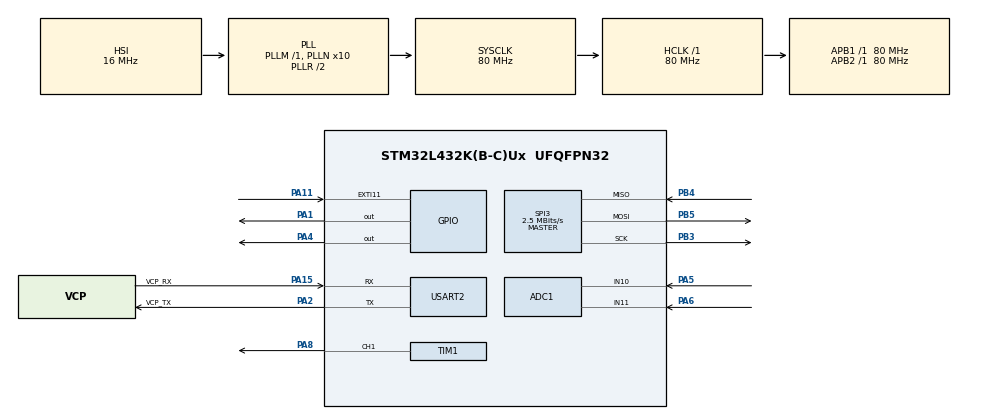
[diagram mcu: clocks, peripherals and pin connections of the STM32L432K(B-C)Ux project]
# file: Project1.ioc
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ADC1.Channel-0\#ChannelRegularConversion=ADC_CHANNEL_11
ADC1.Channel-1\#ChannelRegularConversion=ADC_CHANNEL_10
ADC1.ContinuousConvMode=DISABLE
ADC1.DMAContinuousRequests=DISABLE
ADC1.ExternalTrigConv=ADC_EXTERNALTRIG_T1_TRGO
ADC1.ExternalTrigConvEdge=ADC_EXTERNALTRIGCONVEDGE_RISINGFALLING
ADC1.NbrOfConversion=2
ADC1.NbrOfConversionFlag=1
ADC1.OffsetNumber-0\#ChannelRegularConversion=ADC_OFFSET_NONE
ADC1.OffsetNumber-1\#ChannelRegularConversion=ADC_OFFSET_NONE
ADC1.OversamplingMode=ENABLE
ADC1.Rank-0\#ChannelRegularConversion=1
ADC1.Rank-1\#ChannelRegularConversion=2
ADC1.Ratio=ADC_OVERSAMPLING_RATIO_256
ADC1.RightBitShift=ADC_RIGHTBITSHIFT_4
ADC1.SamplingTime-0\#ChannelRegularConversion=ADC_SAMPLETIME_2CYCLES_5
ADC1.SamplingTime-1\#ChannelRegularConversion=ADC_SAMPLETIME_2CYCLES_5
ADC1.master=1
Dma.ADC1.0.Direction=DMA_PERIPH_TO_MEMORY
Dma.ADC1.0.Instance=DMA1_Channel1
Dma.ADC1.0.MemDataAlignment=DMA_MDATAALIGN_HALFWORD
Dma.ADC1.0.MemInc=DMA_MINC_ENABLE
Dma.ADC1.0.Mode=DMA_CIRCULAR
Dma.ADC1.0.PeriphDataAlignment=DMA_PDATAALIGN_HALFWORD
Dma.ADC1.0.PeriphInc=DMA_PINC_DISABLE
Dma.ADC1.0.Priority=DMA_PRIORITY_LOW
Dma.Request0=ADC1
Dma.Request1=USART2_RX
Dma.USART2_RX.1.Direction=DMA_PERIPH_TO_MEMORY
Dma.USART2_RX.1.Instance=DMA1_Channel6
Dma.USART2_RX.1.MemDataAlignment=DMA_MDATAALIGN_BYTE
Dma.USART2_RX.1.MemInc=DMA_MINC_ENABLE
Dma.USART2_RX.1.Mode=DMA_CIRCULAR
Dma.USART2_RX.1.PeriphDataAlignment=DMA_PDATAALIGN_BYTE
Dma.USART2_RX.1.PeriphInc=DMA_PINC_DISABLE
Dma.USART2_RX.1.Priority=DMA_PRIORITY_LOW
Mcu.Family=STM32L4
Mcu.Name=STM32L432K(B-C)Ux
Mcu.Package=UFQFPN32
NVIC.DMA1_Channel1_IRQn=true\:0\:0\:false\:false\:true\:false\:true\:true
NVIC.DMA1_Channel6_IRQn=true\:0\:0\:true\:false\:true\:false\:true\:true
NVIC.EXTI15_10_IRQn=true\:2\:0\:true\:false\:true\:true\:true\:true
NVIC.PriorityGroup=NVIC_PRIORITYGROUP_4
PA0.GPIO_Label=MCO [High speed clock in]
PA0.Mode=HSE-External-Clock-Source-for-LittleOrca
PA0.Signal=RCC_CK_IN
PA1.Signal=GPIO_Output
PA11.GPIO_ModeDefaultEXTI=GPIO_MODE_IT_FALLING
PA11.Signal=GPXTI11
PA13\ (JTMS-SWDIO).GPIO_Label=SWDIO
PA13\ (JTMS-SWDIO).Mode=Serial_Wire
PA13\ (JTMS-SWDIO).Signal=SYS_JTMS-SWDIO
PA14\ (JTCK-SWCLK).GPIO_Label=SWCLK
PA14\ (JTCK-SWCLK).Mode=Serial_Wire
PA14\ (JTCK-SWCLK).Signal=SYS_JTCK-SWCLK
PA15\ (JTDI).GPIO_Label=VCP_RX
PA15\ (JTDI).Mode=Asynchronous
PA15\ (JTDI).Signal=USART2_RX
PA2.GPIO_Label=VCP_TX
PA2.Mode=Asynchronous
PA2.Signal=USART2_TX
PA4.PinState=GPIO_PIN_SET
PA4.Signal=GPIO_Output
PA5.Signal=ADCx_IN10
PA6.Signal=ADCx_IN11
PA8.Signal=S_TIM1_CH1
PB3\ (JTDO-TRACESWO).GPIO_Speed=GPIO_SPEED_FREQ_VERY_HIGH
PB3\ (JTDO-TRACESWO).Mode=Full_Duplex_Master
PB3\ (JTDO-TRACESWO).Signal=SPI3_SCK
PB4\ (NJTRST).GPIO_Speed=GPIO_SPEED_FREQ_VERY_HIGH
PB4\ (NJTRST).Mode=Full_Duplex_Master
PB4\ (NJTRST).Signal=SPI3_MISO
PB5.GPIO_Speed=GPIO_SPEED_FREQ_VERY_HIGH
PB5.Mode=Full_Duplex_Master
PB5.Signal=SPI3_MOSI
PC14-OSC32_IN\ (PC14).Mode=LSE-External-Oscillator
PC14-OSC32_IN\ (PC14).Signal=RCC_OSC32_IN
PC15-OSC32_OUT\ (PC15).Mode=LSE-External-Oscillator
PC15-OSC32_OUT\ (PC15).Signal=RCC_OSC32_OUT
ProjectManager.HeapSize=0x200
ProjectManager.StackSize=0x400
ProjectManager.TargetToolchain=STM32CubeIDE
RCC.ADCFreq_Value=32000000
RCC.AHBFreq_Value=80000000
RCC.APB1Freq_Value=80000000
RCC.APB1TimFreq_Value=80000000
RCC.APB2Freq_Value=80000000
RCC.APB2TimFreq_Value=80000000
RCC.CortexFreq_Value=80000000
RCC.HCLKFreq_Value=80000000
RCC.HSE_VALUE=8000000
RCC.HSI16_VALUE=16000000
RCC.HSI48_VALUE=48000000
RCC.HSI_VALUE=16000000
RCC.MSI_VALUE=4000000
RCC.PLLMUL=RCC_PLLMUL_4
RCC.PLLN=10
RCC.PLLSAI1R=RCC_PLLR_DIV4
RCC.PLLSourceVirtual=RCC_PLLSOURCE_HSI
RCC.SYSCLKFreq_VALUE=80000000
RCC.SYSCLKSource=RCC_SYSCLKSOURCE_PLLCLK
RCC.USBFreq_Value=64000000
RCC.VCOOutputFreq_Value=160000000
RCC.VDD_VALUE=3.3
SH.ADCx_IN10.0=ADC1_IN10,IN10-Single-Ended
SH.ADCx_IN11.0=ADC1_IN11,IN11-Single-Ended
SH.S_TIM1_CH1.0=TIM1_CH1,Output Compare1 CH1
SPI3.BaudRatePrescaler=SPI_BAUDRATEPRESCALER_32
SPI3.CLKPhase=SPI_PHASE_2EDGE
SPI3.CLKPolarity=SPI_POLARITY_LOW
SPI3.CalculateBaudRate=2.5 MBits/s
SPI3.DataSize=SPI_DATASIZE_8BIT
SPI3.Direction=SPI_DIRECTION_2LINES
SPI3.Mode=SPI_MODE_MASTER
SPI3.VirtualType=VM_MASTER
TIM1.AutoReloadPreload=TIM_AUTORELOAD_PRELOAD_ENABLE
TIM1.Channel-Output\ Compare1\ CH1=TIM_CHANNEL_1
TIM1.OCMode_1=TIM_OCMODE_TOGGLE
TIM1.Period=1000-1
TIM1.Prescaler=80-1
TIM1.TIM_MasterOutputTrigger=TIM_TRGO_UPDATE
USART2.VirtualMode-Asynchronous=VM_ASYNC
VP_TIM1_VS_ClockSourceINT.Mode=Internal
board=NUCLEO-L432KC

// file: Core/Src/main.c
/* USER CODE BEGIN Header */
/**
  ******************************************************************************
  * @file           : main.c
  * @brief          : Main program body
  ******************************************************************************
  * @attention
  *
  * Copyright (c) 2024 STMicroelectronics.
  * All rights reserved.
  *
  * This software is licensed under terms that can be found in the LICENSE file
  * in the root directory of this software component.
  * If no LICENSE file comes with this software, it is provided AS-IS.
  *
  ******************************************************************************
  */
/* USER CODE END Header */
#include "main.h"

/* USER CODE BEGIN Includes */
#include <string.h>
#include <stdio.h>
#include <math.h>
#include <stdlib.h>

/* USER CODE END Includes */

/* USER CODE BEGIN PD */

//ADC definitions
#define ADC_BUF_LEN 10000
#define ADC_RESOLUTION 65535
#define Half_ADC_RESOLUTION 30060//28655
#define ADC_VREF 2.2

//DAC definitions
#define VREF 2.5 				// Reference voltage for DAC
#define M 2.4
#define C 1.2
#define VOUT 1.5
#define SINE_RESOLUTION 10	// Number of points in the sine wave
//#define V_OUT_RANGE 2   		// Desired voltage range for sine wave output
//#define RX_BUF_SIZE 100

/* USER CODE END PD */

ADC_HandleTypeDef hadc1;
DMA_HandleTypeDef hdma_adc1;

SPI_HandleTypeDef hspi3;

TIM_HandleTypeDef htim1;

UART_HandleTypeDef huart2;
DMA_HandleTypeDef hdma_usart2_rx;

/* USER CODE BEGIN PV */

//ADC PARAMETERS
uint16_t adc_buf[ADC_BUF_LEN];
float voltage;
float voltage_output;
float vDAC;
float vout;
uint32_t time_interval = 2000;

//DAC parameters
const uint8_t CRaddress = 0x04; 			//Control register address
const uint16_t CRconfig = 0x22D; 			//Control register configuration
const uint8_t Read = 0x0C;  				//Control register read
const uint8_t Reset = 0x0F;  				//Reset address
const uint8_t DAC_update_address = 0x03;	//DAC Write_Update address
const uint8_t DAC_Read = 0xB;				//DAC read address
uint8_t rxData[3];
uint16_t sine_wave[SINE_RESOLUTION];
int sine_index = 0;
//double V_OUT_RANGE = 2.0;
//double new_V_OUT_RANGE = 2.0;

//Serial Port
char uart_buf[30];
int uart_len;
char rx_buf[5];
float n_lim = -2.0;
float p_lim = 2.0;
float step_size = 0.5;
//uint16_t linear[1000];
char c;
int state = 0;

/* USER CODE END PV */

void SystemClock_Config(void);
static void MX_GPIO_Init(void);
static void MX_DMA_Init(void);
static void MX_USART2_UART_Init(void);
static void MX_SPI3_Init(void);
static void MX_TIM1_Init(void);
static void MX_ADC1_Init(void);

/* USER CODE BEGIN 0 */

//ADC FUNCTIONS
float ADC_to_Voltage(uint32_t adc_value)
{
	int16_t differential_value = (int16_t)adc_value -Half_ADC_RESOLUTION;//28790.5  ; //29015;
	return (((float)differential_value / Half_ADC_RESOLUTION ) * ADC_VREF +0.02);
//	float shifted_voltage = (adc_value * ADC_VREF) / (ADC_RESOLUTION);
//
//	    // Convert shifted voltage back to original voltage range (-3V to 3V)
//	float original_voltage = (shifted_voltage - 1.5) * 2.0;
//	 return original_voltage;
}

void generate_linear(float n_lim, float p_lim, float step_size) {
    float range = p_lim - n_lim;
    int steps = (int)(range / step_size);
	for (int i = 0; i < steps; i++) {
        // Convert to DAC value using the transfer function
        float v_out = n_lim + i*step_size;
        uint16_t dac_value = (uint16_t)((((v_out/VREF)+C)/M)*(65535));
        //linear[i] = dac_value;
        AD5761_Write((uint8_t)DAC_update_address, dac_value);
        HAL_Delay(time_interval-1);
    }
	if (n_lim + steps * step_size-0.1 <= p_lim) {
	        float v_out = p_lim;
	        uint16_t dac_value = (uint16_t)((((v_out/VREF) + C) / M) * 65535);
	        //linear[steps + 1] = dac_value;
	        AD5761_Write((uint8_t)DAC_update_address, dac_value);
	 }

}
//void generate_sine_wave(void) {
//    for (int i = 0; i < SINE_RESOLUTION; i++) {
//        double angle = 2 * M_PI * i / SINE_RESOLUTION;
//        double sine_value = sin(angle);
//
//        // Convert to DAC value using the transfer function
//        double v_out = sine_value * V_OUT_RANGE; // Scale sine wave to desired voltage range
//        uint16_t dac_value = (uint16_t)((((v_out/VREF)+C)/M)*(65535));
//        sine_wave[i] = dac_value;
//    }
//}
void AD5761_Read(uint8_t reg, uint16_t value) {

    uint8_t nop[3]= {(uint8_t)0x0,(uint8_t)0x0,(uint8_t)0x0};

	uint8_t txData[3];
    txData[0] = reg;
    txData[1] = (value & 0xFF00) >> 8;
    txData[2] = (value & 0x00FF) >> 0;

    HAL_GPIO_WritePin(GPIOA, GPIO_PIN_4, GPIO_PIN_RESET);				 // CS Low
    HAL_SPI_Transmit(&hspi3, txData, 3, HAL_MAX_DELAY);  				 // Transmit data
    HAL_GPIO_WritePin(GPIOA, GPIO_PIN_4, GPIO_PIN_SET);   					// CS High

    HAL_Delay(10);
    HAL_GPIO_WritePin(GPIOA, GPIO_PIN_4, GPIO_PIN_RESET); 				// CS Low
    HAL_SPI_TransmitReceive(&hspi3, nop, rxData, 3,HAL_MAX_DELAY);   	// Transmit_Receive data
    HAL_GPIO_WritePin(GPIOA, GPIO_PIN_4, GPIO_PIN_SET);					 // CS High

}

void AD5761_Write(uint8_t reg, uint16_t value) {
    uint8_t txData[3];
    txData[0] = reg;
    txData[1] = (value & 0xFF00) >> 8;
    txData[2] = (value & 0x00FF) >> 0;

    HAL_GPIO_WritePin(GPIOA, GPIO_PIN_4, GPIO_PIN_RESET); // CS Low
    HAL_SPI_Transmit(&hspi3, txData, 3, HAL_MAX_DELAY);   // Transmit data
    HAL_GPIO_WritePin(GPIOA, GPIO_PIN_4, GPIO_PIN_SET);   // CS High

}

void AD5761_Init(void) {

	AD5761_Write(0x0,0x0);
	AD5761_Write(Reset,(uint16_t)0x0);		// Software Data Reset
	HAL_Delay(10);
    AD5761_Write(CRaddress, CRconfig);		// Set to Bipolar mode, +/- 3V range
}
void HandleAlertCondition(void)
{

	AD5761_Read(Read, (uint16_t)0x000);

}
void HAL_GPIO_EXTI_Callback(uint16_t GPIO_Pin){

	 if (GPIO_Pin == GPIO_PIN_11)
	 	    {
	 	        // Handle the ALERT condition
	 	        HandleAlertCondition();
	 	    }
}

/* USER CODE END 0 */

int main(void)
{

  /* MCU Configuration--------------------------------------------------------*/

  /* Reset of all peripherals, Initializes the Flash interface and the Systick. */
  HAL_Init();

  /* Configure the system clock */
  SystemClock_Config();

  /* Initialize all configured peripherals */
  MX_GPIO_Init();
  MX_DMA_Init();
  MX_USART2_UART_Init();
  MX_SPI3_Init();
  MX_TIM1_Init();
  MX_ADC1_Init();
  /* USER CODE BEGIN 2 */
  AD5761_Init();    						//AD5761 Initiallize (Software Data Reset and Control register write)
  AD5761_Read(Read,(uint16_t)0x0);			//Read from control register (0x4)
  HAL_UART_Receive_DMA(&huart2, rx_buf,5);

//  uint16_t dac_value = (uint16_t)((((VOUT/VREF)+C)/M)*(ADC_RESOLUTION));
//  AD5761_Write((uint8_t)DAC_update_address, dac_value);  	//Write and update DAC register (0x3)
//  //  AD5761_Read((uint8_t)0x0B,(uint16_t)0x0);				//Read DAC register (0x3)

  HAL_ADCEx_Calibration_Start(&hadc1, ADC_SINGLE_ENDED);
  HAL_TIM_Base_Start(&htim1);				 // Timer for ADC updates
  HAL_TIM_OC_Start(&htim1, TIM_CHANNEL_1);
  HAL_ADC_Start_DMA(&hadc1, (uint32_t*)adc_buf, time_interval);

  /* USER CODE END 2 */

  /* Infinite loop */
  /* USER CODE BEGIN WHILE */

      while (1)
  {
    	  while(state == 1){
    	    float range = p_lim - n_lim;
    	    int steps = (int)(range / step_size);
    	    for (int i = 0; i < steps; i++) {
    	    	if(state == 0)
    	    		break;
    	    	float v_out = n_lim + i*step_size;
    	      	uint16_t dac_value = (uint16_t)((((v_out/VREF)+C)/M)*(ADC_RESOLUTION));
    	      	AD5761_Write((uint8_t)DAC_update_address, dac_value);
    	      	HAL_Delay(time_interval+1);
    	    }
    	    if (n_lim + steps * step_size-0.1 <= p_lim && state == 1) {
    	      	float v_out = p_lim;
    	      	uint16_t dac_value = (uint16_t)((((v_out/VREF) + C) / M) * ADC_RESOLUTION);
    	      	AD5761_Write((uint8_t)DAC_update_address, dac_value);
    	    }
    	    state = 0;
    	 }

    /* USER CODE END WHILE */

  }
}

void SystemClock_Config(void)
{
  RCC_OscInitTypeDef RCC_OscInitStruct = {0};
  RCC_ClkInitTypeDef RCC_ClkInitStruct = {0};

  /** Configure the main internal regulator output voltage
  */
  if (HAL_PWREx_ControlVoltageScaling(PWR_REGULATOR_VOLTAGE_SCALE1) != HAL_OK)
  {
    Error_Handler();
  }

  /** Initializes the RCC Oscillators according to the specified parameters
  * in the RCC_OscInitTypeDef structure.
  */
  RCC_OscInitStruct.OscillatorType = RCC_OSCILLATORTYPE_HSI;
  RCC_OscInitStruct.HSIState = RCC_HSI_ON;
  RCC_OscInitStruct.HSICalibrationValue = RCC_HSICALIBRATION_DEFAULT;
  RCC_OscInitStruct.PLL.PLLState = RCC_PLL_ON;
  RCC_OscInitStruct.PLL.PLLSource = RCC_PLLSOURCE_HSI;
  RCC_OscInitStruct.PLL.PLLM = 1;
  RCC_OscInitStruct.PLL.PLLN = 10;
  RCC_OscInitStruct.PLL.PLLP = RCC_PLLP_DIV7;
  RCC_OscInitStruct.PLL.PLLQ = RCC_PLLQ_DIV2;
  RCC_OscInitStruct.PLL.PLLR = RCC_PLLR_DIV2;
  if (HAL_RCC_OscConfig(&RCC_OscInitStruct) != HAL_OK)
  {
    Error_Handler();
  }

  /** Initializes the CPU, AHB and APB buses clocks
  */
  RCC_ClkInitStruct.ClockType = RCC_CLOCKTYPE_HCLK|RCC_CLOCKTYPE_SYSCLK
                              |RCC_CLOCKTYPE_PCLK1|RCC_CLOCKTYPE_PCLK2;
  RCC_ClkInitStruct.SYSCLKSource = RCC_SYSCLKSOURCE_PLLCLK;
  RCC_ClkInitStruct.AHBCLKDivider = RCC_SYSCLK_DIV1;
  RCC_ClkInitStruct.APB1CLKDivider = RCC_HCLK_DIV1;
  RCC_ClkInitStruct.APB2CLKDivider = RCC_HCLK_DIV1;

  if (HAL_RCC_ClockConfig(&RCC_ClkInitStruct, FLASH_LATENCY_4) != HAL_OK)
  {
    Error_Handler();
  }
}

static void MX_ADC1_Init(void)
{

  ADC_ChannelConfTypeDef sConfig = {0};

  /** Common config
  */
  hadc1.Instance = ADC1;
  hadc1.Init.ClockPrescaler = ADC_CLOCK_ASYNC_DIV1;
  hadc1.Init.Resolution = ADC_RESOLUTION_12B;
  hadc1.Init.DataAlign = ADC_DATAALIGN_RIGHT;
  hadc1.Init.ScanConvMode = ADC_SCAN_ENABLE;
  hadc1.Init.EOCSelection = ADC_EOC_SINGLE_CONV;
  hadc1.Init.LowPowerAutoWait = DISABLE;
  hadc1.Init.ContinuousConvMode = DISABLE;
  hadc1.Init.NbrOfConversion = 2;
  hadc1.Init.DiscontinuousConvMode = DISABLE;
  hadc1.Init.ExternalTrigConv = ADC_EXTERNALTRIG_T1_TRGO;
  hadc1.Init.ExternalTrigConvEdge = ADC_EXTERNALTRIGCONVEDGE_RISINGFALLING;
  hadc1.Init.DMAContinuousRequests = DISABLE;
  hadc1.Init.Overrun = ADC_OVR_DATA_PRESERVED;
  hadc1.Init.OversamplingMode = ENABLE;
  hadc1.Init.Oversampling.Ratio = ADC_OVERSAMPLING_RATIO_256;
  hadc1.Init.Oversampling.RightBitShift = ADC_RIGHTBITSHIFT_4;
  hadc1.Init.Oversampling.TriggeredMode = ADC_TRIGGEREDMODE_SINGLE_TRIGGER;
  hadc1.Init.Oversampling.OversamplingStopReset = ADC_REGOVERSAMPLING_CONTINUED_MODE;
  if (HAL_ADC_Init(&hadc1) != HAL_OK)
  {
    Error_Handler();
  }

  /** Configure Regular Channel
  */
  sConfig.Channel = ADC_CHANNEL_11;
  sConfig.Rank = ADC_REGULAR_RANK_1;
  sConfig.SamplingTime = ADC_SAMPLETIME_2CYCLES_5;
  sConfig.SingleDiff = ADC_SINGLE_ENDED;
  sConfig.OffsetNumber = ADC_OFFSET_NONE;
  sConfig.Offset = 0;
  if (HAL_ADC_ConfigChannel(&hadc1, &sConfig) != HAL_OK)
  {
    Error_Handler();
  }

  /** Configure Regular Channel
  */
  sConfig.Channel = ADC_CHANNEL_10;
  sConfig.Rank = ADC_REGULAR_RANK_2;
  if (HAL_ADC_ConfigChannel(&hadc1, &sConfig) != HAL_OK)
  {
    Error_Handler();
  }

}

static void MX_SPI3_Init(void)
{

  /* SPI3 parameter configuration*/
  hspi3.Instance = SPI3;
  hspi3.Init.Mode = SPI_MODE_MASTER;
  hspi3.Init.Direction = SPI_DIRECTION_2LINES;
  hspi3.Init.DataSize = SPI_DATASIZE_8BIT;
  hspi3.Init.CLKPolarity = SPI_POLARITY_LOW;
  hspi3.Init.CLKPhase = SPI_PHASE_2EDGE;
  hspi3.Init.NSS = SPI_NSS_SOFT;
  hspi3.Init.BaudRatePrescaler = SPI_BAUDRATEPRESCALER_32;
  hspi3.Init.FirstBit = SPI_FIRSTBIT_MSB;
  hspi3.Init.TIMode = SPI_TIMODE_DISABLE;
  hspi3.Init.CRCCalculation = SPI_CRCCALCULATION_DISABLE;
  hspi3.Init.CRCPolynomial = 7;
  hspi3.Init.CRCLength = SPI_CRC_LENGTH_DATASIZE;
  hspi3.Init.NSSPMode = SPI_NSS_PULSE_DISABLE;
  if (HAL_SPI_Init(&hspi3) != HAL_OK)
  {
    Error_Handler();
  }

}

static void MX_TIM1_Init(void)
{

  TIM_ClockConfigTypeDef sClockSourceConfig = {0};
  TIM_MasterConfigTypeDef sMasterConfig = {0};
  TIM_OC_InitTypeDef sConfigOC = {0};
  TIM_BreakDeadTimeConfigTypeDef sBreakDeadTimeConfig = {0};

  htim1.Instance = TIM1;
  htim1.Init.Prescaler = 80-1;
  htim1.Init.CounterMode = TIM_COUNTERMODE_UP;
  htim1.Init.Period = 1000-1;
  htim1.Init.ClockDivision = TIM_CLOCKDIVISION_DIV1;
  htim1.Init.RepetitionCounter = 0;
  htim1.Init.AutoReloadPreload = TIM_AUTORELOAD_PRELOAD_ENABLE;
  if (HAL_TIM_Base_Init(&htim1) != HAL_OK)
  {
    Error_Handler();
  }
  sClockSourceConfig.ClockSource = TIM_CLOCKSOURCE_INTERNAL;
  if (HAL_TIM_ConfigClockSource(&htim1, &sClockSourceConfig) != HAL_OK)
  {
    Error_Handler();
  }
  if (HAL_TIM_OC_Init(&htim1) != HAL_OK)
  {
    Error_Handler();
  }
  sMasterConfig.MasterOutputTrigger = TIM_TRGO_UPDATE;
  sMasterConfig.MasterOutputTrigger2 = TIM_TRGO2_RESET;
  sMasterConfig.MasterSlaveMode = TIM_MASTERSLAVEMODE_DISABLE;
  if (HAL_TIMEx_MasterConfigSynchronization(&htim1, &sMasterConfig) != HAL_OK)
  {
    Error_Handler();
  }
  sConfigOC.OCMode = TIM_OCMODE_TOGGLE;
  sConfigOC.Pulse = 0;
  sConfigOC.OCPolarity = TIM_OCPOLARITY_HIGH;
  sConfigOC.OCNPolarity = TIM_OCNPOLARITY_HIGH;
  sConfigOC.OCFastMode = TIM_OCFAST_DISABLE;
  sConfigOC.OCIdleState = TIM_OCIDLESTATE_RESET;
  sConfigOC.OCNIdleState = TIM_OCNIDLESTATE_RESET;
  if (HAL_TIM_OC_ConfigChannel(&htim1, &sConfigOC, TIM_CHANNEL_1) != HAL_OK)
  {
    Error_Handler();
  }
  sBreakDeadTimeConfig.OffStateRunMode = TIM_OSSR_DISABLE;
  sBreakDeadTimeConfig.OffStateIDLEMode = TIM_OSSI_DISABLE;
  sBreakDeadTimeConfig.LockLevel = TIM_LOCKLEVEL_OFF;
  sBreakDeadTimeConfig.DeadTime = 0;
  sBreakDeadTimeConfig.BreakState = TIM_BREAK_DISABLE;
  sBreakDeadTimeConfig.BreakPolarity = TIM_BREAKPOLARITY_HIGH;
  sBreakDeadTimeConfig.BreakFilter = 0;
  sBreakDeadTimeConfig.Break2State = TIM_BREAK2_DISABLE;
  sBreakDeadTimeConfig.Break2Polarity = TIM_BREAK2POLARITY_HIGH;
  sBreakDeadTimeConfig.Break2Filter = 0;
  sBreakDeadTimeConfig.AutomaticOutput = TIM_AUTOMATICOUTPUT_DISABLE;
  if (HAL_TIMEx_ConfigBreakDeadTime(&htim1, &sBreakDeadTimeConfig) != HAL_OK)
  {
    Error_Handler();
  }
  HAL_TIM_MspPostInit(&htim1);

}

static void MX_USART2_UART_Init(void)
{

  huart2.Instance = USART2;
  huart2.Init.BaudRate = 115200;
  huart2.Init.WordLength = UART_WORDLENGTH_8B;
  huart2.Init.StopBits = UART_STOPBITS_1;
  huart2.Init.Parity = UART_PARITY_NONE;
  huart2.Init.Mode = UART_MODE_TX_RX;
  huart2.Init.HwFlowCtl = UART_HWCONTROL_NONE;
  huart2.Init.OverSampling = UART_OVERSAMPLING_16;
  huart2.Init.OneBitSampling = UART_ONE_BIT_SAMPLE_DISABLE;
  huart2.AdvancedInit.AdvFeatureInit = UART_ADVFEATURE_NO_INIT;
  if (HAL_UART_Init(&huart2) != HAL_OK)
  {
    Error_Handler();
  }

}

static void MX_DMA_Init(void)
{

  /* DMA controller clock enable */
  __HAL_RCC_DMA1_CLK_ENABLE();

  /* DMA interrupt init */
  /* DMA1_Channel1_IRQn interrupt configuration */
  HAL_NVIC_SetPriority(DMA1_Channel1_IRQn, 0, 0);
  HAL_NVIC_EnableIRQ(DMA1_Channel1_IRQn);
  /* DMA1_Channel6_IRQn interrupt configuration */
  HAL_NVIC_SetPriority(DMA1_Channel6_IRQn, 0, 0);
  HAL_NVIC_EnableIRQ(DMA1_Channel6_IRQn);

}

static void MX_GPIO_Init(void)
{
  GPIO_InitTypeDef GPIO_InitStruct = {0};

  /* GPIO Ports Clock Enable */
  __HAL_RCC_GPIOC_CLK_ENABLE();
  __HAL_RCC_GPIOA_CLK_ENABLE();
  __HAL_RCC_GPIOB_CLK_ENABLE();

  /*Configure GPIO pin Output Level */
  HAL_GPIO_WritePin(GPIOA, GPIO_PIN_1, GPIO_PIN_RESET);

  /*Configure GPIO pin Output Level */
  HAL_GPIO_WritePin(GPIOA, GPIO_PIN_4, GPIO_PIN_SET);

  /*Configure GPIO pins : PA1 PA4 */
  GPIO_InitStruct.Pin = GPIO_PIN_1|GPIO_PIN_4;
  GPIO_InitStruct.Mode = GPIO_MODE_OUTPUT_PP;
  GPIO_InitStruct.Pull = GPIO_NOPULL;
  GPIO_InitStruct.Speed = GPIO_SPEED_FREQ_LOW;
  HAL_GPIO_Init(GPIOA, &GPIO_InitStruct);

  /*Configure GPIO pin : PA11 */
  GPIO_InitStruct.Pin = GPIO_PIN_11;
  GPIO_InitStruct.Mode = GPIO_MODE_IT_FALLING;
  GPIO_InitStruct.Pull = GPIO_NOPULL;
  HAL_GPIO_Init(GPIOA, &GPIO_InitStruct);

  /* EXTI interrupt init*/
  HAL_NVIC_SetPriority(EXTI15_10_IRQn, 2, 0);
  HAL_NVIC_EnableIRQ(EXTI15_10_IRQn);

}

/* USER CODE BEGIN 4 */

void HAL_UART_RxCpltCallback(UART_HandleTypeDef *huart) {
	c = rx_buf[0];
//	int filled = 1;
//	for(int i = 0; i< 5; i++)
//	{
//		if(rx_buf[i] == '\0' && i <(5-1))
//			filled = 0;
//		if(filled == 0)
//			rx_buf[i] = '0';
//	}
//	rx_buf[5] = '\0';
	char *endptr;
	if(c == 'S')
		state = 1;
	else if (c == 's'){
		char temp [5];
		for (int i = 1 ; i <6; i++)
			temp[i-1] = rx_buf[i];
		step_size = strtof(temp,&endptr);
	}
	else if (c == 't'){
		char temp [5];
		for (int i = 1 ; i <6; i++)
			temp[i-1] = rx_buf[i];
		time_interval = (uint32_t)strtoul(temp, &endptr, 10) *2;
		HAL_ADC_Stop_DMA(&hadc1);
		HAL_ADCEx_Calibration_Start(&hadc1, ADC_SINGLE_ENDED);
		HAL_ADC_Start_DMA(&hadc1, (uint32_t*)adc_buf, time_interval);
	}
	else if(c == '-')
		n_lim = strtof(rx_buf,&endptr);
	else if(c == 'p')
		state = 0;
	else
		p_lim = strtof(rx_buf,&endptr);
	//new_V_OUT_RANGE = atof(rx_buf);
	memset(rx_buf, 0, sizeof(rx_buf));
	c= '\0';
	//HAL_UART_Receive_DMA(&huart2, rx_buf,5);
}
//Getting ADC values
void HAL_ADC_ConvHalfCpltCallback(ADC_HandleTypeDef* hadc){

	for(int i =time_interval/2 - 20; i<time_interval/2; i++){
		if(i%2 == 0){
			voltage_output += ADC_to_Voltage(adc_buf[i]);
		}
		else{
			voltage += ADC_to_Voltage(adc_buf[i]);
		}
	}
	vDAC = voltage/10;
	vout = voltage_output/10;
	voltage =0;
	voltage_output = 0;
	uart_len = sprintf(uart_buf,"vDAC %.4f vout %.4f\r\n", vDAC, vout);
	HAL_UART_Transmit(&huart2, (uint8_t*)uart_buf, uart_len,HAL_MAX_DELAY);
}

//End of ADC - Start another one
void HAL_ADC_ConvCpltCallback(ADC_HandleTypeDef* hadc){
//	for(int i =ADC_BUF_LEN/2; i<ADC_BUF_LEN; i++){
//		if(voltage != previous_voltage){
//			voltage = ADC_to_Voltage(adc_buf[i]);
//	//		char buffer[50];
//	//		sprintf(buffer, "%.5f V\r\n", voltage);
//	//		HAL_UART_Transmit(&huart2, (uint8_t*)buffer, strlen(buffer), HAL_MAX_DELAY);
//		}
//	}

	HAL_ADCEx_Calibration_Start(&hadc1, ADC_SINGLE_ENDED);
	HAL_ADC_Start_DMA(&hadc1, (uint32_t*)adc_buf, time_interval);

}

/* USER CODE END 4 */

void Error_Handler(void)
{
  __disable_irq();
  while (1)
  {
  }
}
